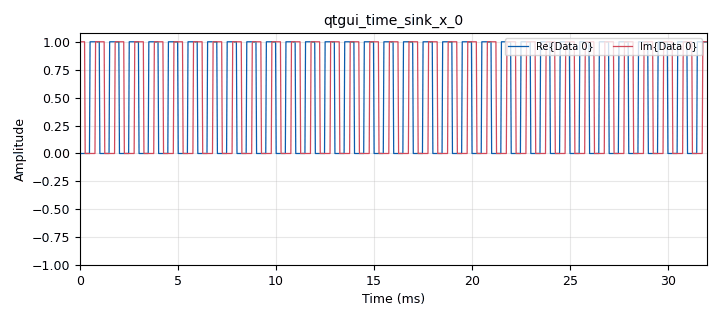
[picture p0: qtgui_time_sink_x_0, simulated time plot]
options:
  parameters:
    generate_options: qt_gui
    id: multiplereceivers
    output_language: python
    title: Not titled yet
  states: {}

blocks:
- name: carrier_freq
  id: variable
  parameters:
    value: 1090e6
  states: {}
- name: samp_rate
  id: variable
  parameters:
    value: '32000.0'
  states: {}
- name: analog_random_uniform_source_x_0
  id: analog_random_uniform_source_x
  parameters:
    maximum: '255'
    minimum: '0'
    seed: '128'
    type: byte
  states: {state: disabled}
- name: analog_sig_source_x_0
  id: analog_sig_source_x
  parameters:
    amp: '1'
    freq: '1000'
    offset: '0'
    phase: '0'
    samp_rate: samp_rate
    type: complex
    waveform: analog.GR_SQR_WAVE
  states: {}
- name: blocks_file_source_0
  id: blocks_file_source
  parameters:
    repeat: 'True'
    type: complex
  states: {state: disabled}
- name: digital_gfsk_mod_0
  id: digital_gfsk_mod
  parameters:
    bt: '0.35'
    samples_per_symbol: '2'
    sensitivity: '1.0'
  states: {state: disabled}
- name: qtgui_time_sink_x_0
  id: qtgui_time_sink_x
  parameters:
    nconnections: '2'
    size: '1024'
    srate: samp_rate
    type: complex
  states: {}

connections:
- [analog_random_uniform_source_x_0, '0', digital_gfsk_mod_0, '0']
- [analog_sig_source_x_0, '0', qtgui_time_sink_x_0, '1']

metadata:
  file_format: 1
  grc_version: 3.10.11.0
